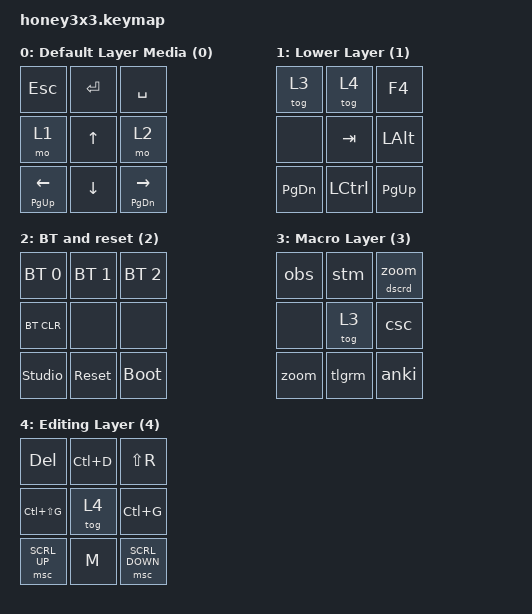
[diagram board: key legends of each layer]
#include <behaviors.dtsi>
#include <dt-bindings/zmk/keys.h>
#include <dt-bindings/zmk/bt.h>
#include <dt-bindings/zmk/pointing.h>

&msc {
    x-input-code = <INPUT_REL_HWHEEL>;
    y-input-code = <INPUT_REL_WHEEL>;
    time-to-max-speed-ms = <0>;
    delay-ms = <0>;
    acceleration-exponent = <0>;
};

/ {
	macros {
        
        tlgrm: telegram {
            compatible = "zmk,behavior-macro";
            #binding-cells = <0>;
            bindings
                = <&macro_tap &kp LGUI &kp T &kp E &kp L &kp E &kp RET>
                ;
        };
        obs: obs {
            compatible = "zmk,behavior-macro";
            #binding-cells = <0>;
            bindings
                = <&macro_tap &kp LGUI &kp O &kp B &kp S &kp RET>
                ;
        };
        stm: steam {
            compatible = "zmk,behavior-macro";
            #binding-cells = <0>;
            bindings
                = <&macro_tap &kp LGUI &kp S &kp T &kp E &kp A &kp RET>
                ;
        };
        zoom: zoom {
            compatible = "zmk,behavior-macro";
            #binding-cells = <0>;
            bindings
                = <&macro_tap &kp LGUI &kp Z &kp O &kp O &kp M &kp RET>
                ;
        };
        pnt: paint {
            compatible = "zmk,behavior-macro";
            #binding-cells = <0>;
            bindings
                = <&macro_tap &kp LGUI &kp P &kp A &kp I &kp N &kp RET>
                ;
        };
        dscrd: discord {
            compatible = "zmk,behavior-macro";
            #binding-cells = <0>;
            bindings
                = <&macro_tap &kp LGUI &kp D &kp S &kp C &kp O &kp RET>
                ;
        };
        anki: anki {
            compatible = "zmk,behavior-macro";
            #binding-cells = <0>;
            bindings
                = <&macro_tap &kp LGUI &kp A &kp N &kp K &kp I &kp RET>
                ;
        };
        csc: csxcsaltf4 {
           compatible = "zmk,behavior-macro";
            #binding-cells = <0>;
            bindings
                = <&macro_press &kp LCTRL>
                , <&macro_press &kp LSHFT>
                , <&macro_tap &kp X>
                , <&macro_release &kp LCTRL>
                , <&macro_release &kp LSHFT>
                , <&macro_press &kp LCTRL>
                , <&macro_tap &kp S>
                , <&macro_release &kp LCTRL>
                , <&macro_press &kp LALT>
                , <&macro_tap &kp F4>
                , <&macro_release &kp LALT>
                ;
        };
    };

    behaviors {
        mt1: mod_tap1 {
            compatible = "zmk,behavior-hold-tap";
            #binding-cells = <2>;
            flavor = "hold-preferred";
            tapping-term-ms = <200>;
            bindings = <&dscrd>, <&zoom>;
            display-name = "Mod-Tap1";
        };
    };


    keymap {
        compatible = "zmk,keymap";
		
        default_layer {
            display-name = "Default Layer Media (0)";

            bindings = <
               &kp ESC         &kp RET   &kp SPACE
               &mo 1           &kp UP    &mo 2
               &mt PG_UP LEFT  &kp DOWN  &mt PG_DN RIGHT
            >;

        };
        
        lower_layer {
            display-name = "Lower Layer (1)";
			
            bindings = <
               &tog 3     &tog 4     &kp F4
               &none      &kp TAB    &kp LALT
               &kp PG_DN  &kp LCTRL  &kp PG_UP
            >;
        };

        raise_layer {
            display-name = "BT and reset (2)";
			
            bindings = <
              &bt BT_SEL 0    &bt BT_SEL 1  &bt BT_SEL 2
              &bt BT_CLR      &none         &none
              &studio_unlock  &sys_reset    &bootloader
            >;
        };
        
        macro_layer {
            display-name = "Macro Layer (3)";
			
            bindings = <
              &obs   &stm    &mt1 0 0
              &none  &tog 3  &csc
              &zoom  &tlgrm  &anki
            >;
        };

        editing_layer {
            display-name = "Editing Layer (4)";
			
            bindings = <
              &kp DEL        &kp LC(D)      &kp LS(R)
              &kp LC(LS(G))  &tog 4       &kp LC(G)
              &msc SCRL_UP   &kp M        &msc SCRL_DOWN
            >;
        };

    };
};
